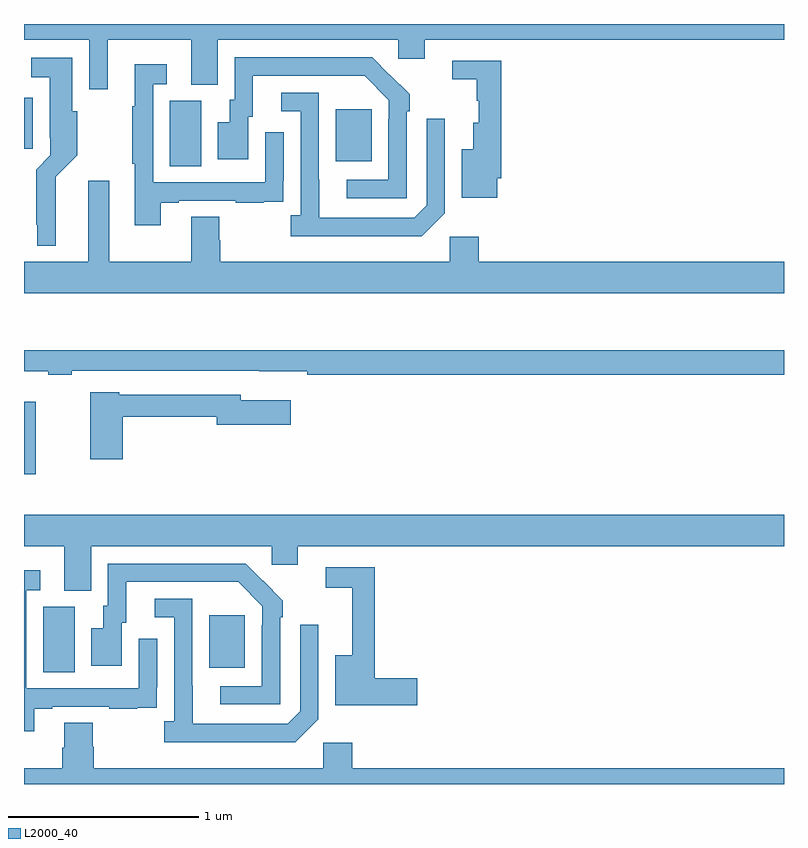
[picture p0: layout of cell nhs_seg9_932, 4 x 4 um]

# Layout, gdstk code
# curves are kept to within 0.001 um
import gdstk
lib = gdstk.Library(unit=1e-6, precision=1e-09)
def R(c, l, rs):  # rectangles x0, y0, x1, y1
    for r in rs: c.add(gdstk.rectangle(r[:2], r[2:], *l))
def P(c, l, *ps):  # polygons
    for p in ps: c.add(gdstk.Polygon(p, *l))
L2000_40 = (2000, 40)

nhs_seg9_932 = lib.new_cell('nhs_seg9_932')
R(nhs_seg9_932, L2000_40, [(161.102,1197.088,161.266,1197.432), (161.975,1197.113,162.163,1197.388), (161,1198.131,161.062,1198.513), (161.768,1199.752,161.932,1200.096), (162.641,1199.777,162.829,1200.052), (161,1199.844,161.047,1200.111)])
P(nhs_seg9_932, L2000_40, [(161,1200.416),(161.343,1200.416),(161.343,1200.156),(161.44,1200.156),(161.44,1200.416),(161.879,1200.416),(161.879,1200.181),(162.019,1200.181),(162.019,1200.416),(162.969,1200.416),(162.969,1200.318),(163.108,1200.318),(163.108,1200.416),(165,1200.416),(165,1200.5),(161,1200.5)],
  [(163.014,1200.041),(163.029,1200.041),(163.029,1200.129),(162.832,1200.324),(162.108,1200.324),(162.108,1200.102),(162.083,1200.102),(162.083,1199.983),(162.02,1199.983),(162.02,1199.787),(162.181,1199.787),(162.181,1200.012),(162.205,1200.012),(162.205,1200.228),(162.793,1200.228),(162.921,1200.099),(162.921,1199.999),(162.918,1199.999),(162.918,1199.679),(162.699,1199.679),(162.699,1199.583),(163.014,1199.583)],
  [(161.167,1199.696),(161.28,1199.809),(161.28,1200.042),(161.254,1200.042),(161.254,1200.322),(161.037,1200.322),(161.037,1200.221),(161.135,1200.221),(161.135,1199.902),(161.139,1199.902),(161.139,1199.808),(161.065,1199.734),(161.065,1199.443),(161.069,1199.443),(161.069,1199.333),(161.167,1199.333)],
  [(163.492,1199.689),(163.511,1199.689),(163.511,1200.306),(163.254,1200.306),(163.254,1200.208),(163.383,1200.208),(163.383,1200.095),(163.394,1200.095),(163.394,1199.98),(163.364,1199.98),(163.364,1199.842),(163.304,1199.842),(163.304,1199.585),(163.492,1199.585)],
  [(161.719,1199.559),(161.815,1199.559),(161.815,1199.571),(162.115,1199.571),(162.115,1199.559),(162.263,1199.559),(162.263,1199.565),(162.365,1199.565),(162.365,1199.674),(162.366,1199.674),(162.366,1199.929),(162.27,1199.929),(162.27,1199.667),(161.679,1199.667),(161.679,1200.183),(161.752,1200.183),(161.752,1200.289),(161.582,1200.289),(161.582,1200.068),(161.571,1200.068),(161.571,1199.764),(161.582,1199.764),(161.582,1199.442),(161.719,1199.442)],
  [(163.215,1199.505),(163.215,1200.001),(163.119,1200.001),(163.119,1199.547),(163.053,1199.481),(162.553,1199.481),(162.552,1200.138),(162.354,1200.138),(162.354,1200.042),(162.456,1200.042),(162.456,1199.494),(162.405,1199.494),(162.405,1199.384),(163.094,1199.384)],
  [(161.339,1199.674),(161.339,1199.248),(161,1199.248),(161,1199.084),(165,1199.084),(165,1199.248),(163.394,1199.248),(163.394,1199.38),(163.242,1199.38),(163.242,1199.248),(162.032,1199.248),(162.032,1199.361),(162.027,1199.361),(162.027,1199.486),(161.879,1199.486),(161.879,1199.248),(161.449,1199.248),(161.449,1199.674)],
  [(161.252,1198.674),(162.238,1198.674),(162.238,1198.673),(162.49,1198.673),(162.49,1198.654),(165,1198.654),(165,1198.783),(161,1198.783),(161,1198.673),(161.128,1198.673),(161.128,1198.654),(161.252,1198.654)],
  [(161.519,1198.432),(162.014,1198.432),(162.014,1198.39),(162.403,1198.39),(162.403,1198.519),(162.142,1198.519),(162.142,1198.548),(161.502,1198.548),(161.502,1198.561),(161.348,1198.561),(161.348,1198.209),(161.519,1198.209)],
  [(161.353,1197.752),(162.303,1197.752),(162.303,1197.654),(162.442,1197.654),(162.442,1197.752),(165,1197.752),(165,1197.916),(161,1197.916),(161,1197.752),(161.213,1197.752),(161.213,1197.517),(161.353,1197.517)],
  [(162.348,1197.377),(162.363,1197.377),(162.363,1197.465),(162.166,1197.66),(161.442,1197.66),(161.442,1197.438),(161.417,1197.438),(161.417,1197.319),(161.354,1197.319),(161.354,1197.123),(161.515,1197.123),(161.515,1197.348),(161.539,1197.348),(161.539,1197.564),(162.127,1197.564),(162.255,1197.435),(162.255,1197.335),(162.252,1197.335),(162.252,1197.015),(162.033,1197.015),(162.033,1196.919),(162.348,1196.919)],
  [(163.069,1197.056),(162.845,1197.056),(162.845,1197.642),(162.588,1197.642),(162.588,1197.534),(162.728,1197.534),(162.728,1197.178),(162.638,1197.178),(162.638,1196.914),(163.069,1196.914)],
  [(161.053,1196.895),(161.149,1196.895),(161.149,1196.907),(161.449,1196.907),(161.449,1196.895),(161.597,1196.895),(161.597,1196.901),(161.699,1196.901),(161.699,1197.01),(161.7,1197.01),(161.7,1197.265),(161.604,1197.265),(161.604,1197.003),(161.013,1197.003),(161.013,1197.519),(161.086,1197.519),(161.086,1197.625),(161,1197.625),(161,1196.778),(161.053,1196.778)],
  [(162.549,1196.841),(162.549,1197.337),(162.453,1197.337),(162.453,1196.883),(162.387,1196.817),(161.887,1196.817),(161.886,1197.474),(161.688,1197.474),(161.688,1197.378),(161.79,1197.378),(161.79,1196.83),(161.739,1196.83),(161.739,1196.72),(162.428,1196.72)],
  [(165,1196.584),(162.728,1196.584),(162.728,1196.716),(162.576,1196.716),(162.576,1196.584),(161.366,1196.584),(161.366,1196.697),(161.361,1196.697),(161.361,1196.822),(161.213,1196.822),(161.213,1196.69),(161.201,1196.69),(161.201,1196.584),(161,1196.584),(161,1196.5),(165,1196.5)])

lib.write_gds('nhs_seg9_932.gds')
